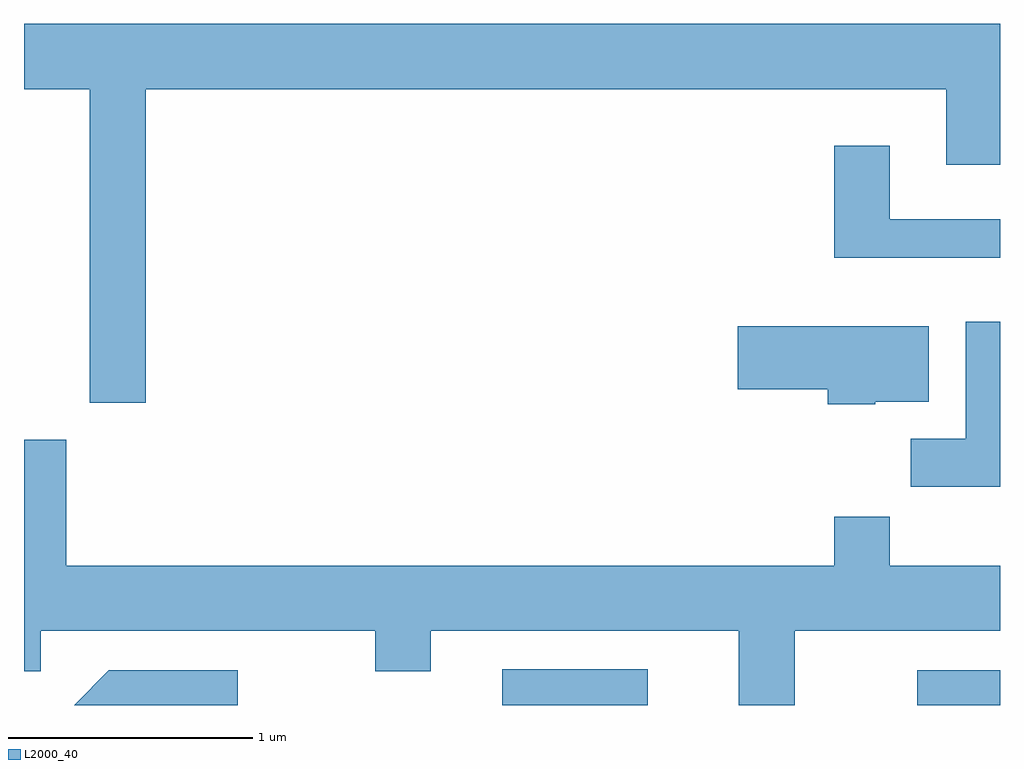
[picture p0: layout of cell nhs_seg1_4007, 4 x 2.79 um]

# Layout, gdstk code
import gdstk
lib = gdstk.Library(unit=1e-6, precision=1e-09)
def R(c, l, rs):  # rectangles x0, y0, x1, y1
    for r in rs: c.add(gdstk.rectangle(r[:2], r[2:], *l))
def P(c, l, *ps):  # polygons
    for p in ps: c.add(gdstk.Polygon(p, *l))
L2000_40 = (2000, 40)

nhs_seg1_4007 = lib.new_cell('nhs_seg1_4007')
R(nhs_seg1_4007, L2000_40, [(307.571,903.712,308.168,903.859), (309.271,903.712,309.611,903.854)])
P(nhs_seg1_4007, L2000_40, [(306.109,906.236),(309.391,906.236),(309.391,905.926),(309.611,905.926),(309.611,906.504),(305.611,906.504),(305.611,906.236),(305.881,906.236),(305.881,904.951),(306.109,904.951)],
  [(309.611,905.704),(309.159,905.704),(309.159,906.004),(308.931,906.004),(308.931,905.546),(309.611,905.546)],
  [(309.611,905.284),(309.471,905.284),(309.471,904.804),(309.246,904.804),(309.246,904.606),(309.611,904.606)],
  [(309.1,904.956),(309.319,904.956),(309.319,905.264),(308.536,905.264),(308.536,905.006),(308.906,905.006),(308.906,904.946),(309.1,904.946)],
  [(308.769,904.016),(309.611,904.016),(309.611,904.284),(309.159,904.284),(309.159,904.484),(308.931,904.484),(308.931,904.284),(305.784,904.284),(305.784,904.799),(305.611,904.799),(305.611,903.851),(305.679,903.851),(305.679,904.016),(307.051,904.016),(307.051,903.851),(307.279,903.851),(307.279,904.016),(308.541,904.016),(308.541,903.712),(308.769,903.712)],
  [(306.488,903.854),(305.959,903.854),(305.816,903.712),(306.488,903.712)])

lib.write_gds('nhs_seg1_4007.gds')
